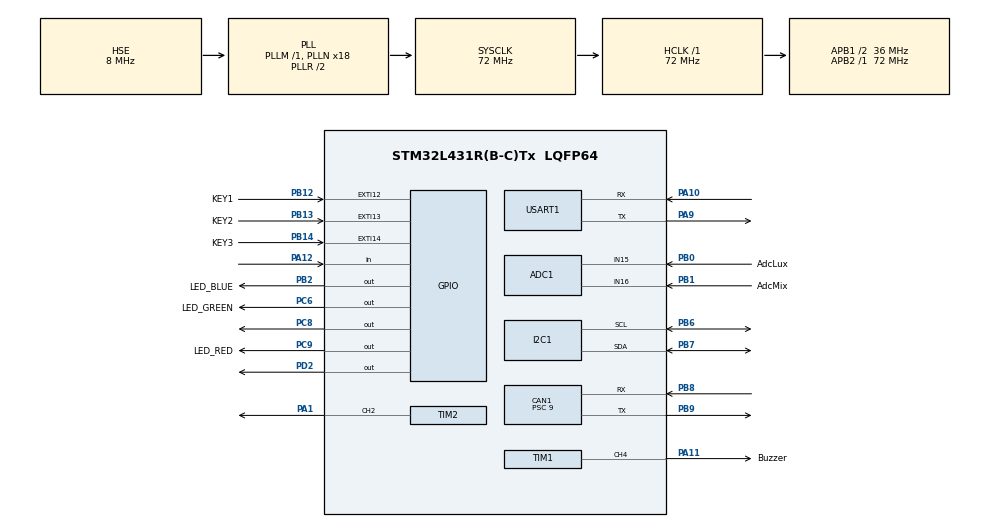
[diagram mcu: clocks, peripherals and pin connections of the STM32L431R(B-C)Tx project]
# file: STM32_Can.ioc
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ADC1.Channel-0\#ChannelRegularConversion=ADC_CHANNEL_15
ADC1.Channel-1\#ChannelRegularConversion=ADC_CHANNEL_16
ADC1.ContinuousConvMode=ENABLE
ADC1.NbrOfConversion=2
ADC1.NbrOfConversionFlag=1
ADC1.OffsetNumber-0\#ChannelRegularConversion=ADC_OFFSET_NONE
ADC1.OffsetNumber-1\#ChannelRegularConversion=ADC_OFFSET_NONE
ADC1.Rank-0\#ChannelRegularConversion=1
ADC1.Rank-1\#ChannelRegularConversion=2
ADC1.SamplingTime-0\#ChannelRegularConversion=ADC_SAMPLETIME_2CYCLES_5
ADC1.SamplingTime-1\#ChannelRegularConversion=ADC_SAMPLETIME_2CYCLES_5
ADC1.master=1
CAN1.BS1=CAN_BS1_5TQ
CAN1.BS2=CAN_BS2_2TQ
CAN1.CalculateBaudRate=500000
CAN1.CalculateTimeBit=2000
CAN1.CalculateTimeQuantum=250.0
CAN1.Mode=CAN_MODE_NORMAL
CAN1.Prescaler=9
FREERTOS.Tasks01=defaultTask,24,128,StartDefaultTask,Default,NULL,Dynamic,NULL,NULL
FREERTOS.configUSE_NEWLIB_REENTRANT=1
I2C1.I2C_Fall_Time=100
I2C1.I2C_Rise_Time=100
I2C1.Timing=0x00C08CCB
Mcu.Family=STM32L4
Mcu.Name=STM32L431R(B-C)Tx
Mcu.Package=LQFP64
NVIC.CAN1_RX0_IRQn=true\:5\:0\:true\:false\:true\:true\:true\:true\:true
NVIC.EXTI15_10_IRQn=true\:5\:0\:true\:false\:true\:true\:true\:true\:true
NVIC.PriorityGroup=NVIC_PRIORITYGROUP_4
NVIC.TIM7_IRQn=true\:15\:0\:false\:false\:true\:false\:false\:true\:true
NVIC.TimeBase=TIM7_IRQn
NVIC.TimeBaseIP=TIM7
PA1.Signal=S_TIM2_CH2
PA10.Mode=Asynchronous
PA10.Signal=USART1_RX
PA11.GPIO_Label=Buzzer
PA11.GPIO_PuPd=GPIO_PULLDOWN
PA11.Signal=S_TIM1_CH4
PA12.GPIO_PuPd=GPIO_PULLUP
PA12.Signal=GPIO_Input
PA9.Mode=Asynchronous
PA9.Signal=USART1_TX
PB0.GPIO_Label=AdcLux
PB0.Signal=ADCx_IN15
PB1.GPIO_Label=AdcMix
PB1.Signal=ADCx_IN16
PB12.GPIO_Label=KEY1
PB12.Signal=GPXTI12
PB13.GPIO_Label=KEY2
PB13.Signal=GPXTI13
PB14.GPIO_Label=KEY3
PB14.Signal=GPXTI14
PB2.GPIO_Label=LED_BLUE
PB2.PinState=GPIO_PIN_SET
PB2.Signal=GPIO_Output
PB6.Mode=I2C
PB6.Signal=I2C1_SCL
PB7.Mode=I2C
PB7.Signal=I2C1_SDA
PB8.Mode=CAN_Activate
PB8.Signal=CAN1_RX
PB9.Mode=CAN_Activate
PB9.Signal=CAN1_TX
PC6.GPIO_Label=LED_GREEN
PC6.PinState=GPIO_PIN_SET
PC6.Signal=GPIO_Output
PC8.Signal=GPIO_Output
PC9.GPIO_Label=LED_RED
PC9.GPIO_PuPd=GPIO_NOPULL
PC9.PinState=GPIO_PIN_SET
PC9.Signal=GPIO_Output
PD2.Signal=GPIO_Output
PH0-OSC_IN\ (PH0).Mode=HSE-External-Oscillator
PH0-OSC_IN\ (PH0).Signal=RCC_OSC_IN
PH1-OSC_OUT\ (PH1).Mode=HSE-External-Oscillator
PH1-OSC_OUT\ (PH1).Signal=RCC_OSC_OUT
ProjectManager.HeapSize=0x200
ProjectManager.StackSize=0x400
ProjectManager.TargetToolchain=STM32CubeIDE
RCC.ADCFreq_Value=32000000
RCC.AHBFreq_Value=72000000
RCC.APB1CLKDivider=RCC_HCLK_DIV2
RCC.APB1Freq_Value=36000000
RCC.APB1TimFreq_Value=72000000
RCC.APB2Freq_Value=72000000
RCC.APB2TimFreq_Value=72000000
RCC.CortexFreq_Value=72000000
RCC.HCLKFreq_Value=72000000
RCC.HSE_VALUE=8000000
RCC.HSI48_VALUE=48000000
RCC.HSI_VALUE=16000000
RCC.LSE_VALUE=32768
RCC.MSI_VALUE=4000000
RCC.PLLN=18
RCC.PLLSourceVirtual=RCC_PLLSOURCE_HSE
RCC.SYSCLKFreq_VALUE=72000000
RCC.SYSCLKSource=RCC_SYSCLKSOURCE_PLLCLK
RCC.VCOOutputFreq_Value=144000000
SH.ADCx_IN15.0=ADC1_IN15,IN15-Single-Ended
SH.ADCx_IN16.0=ADC1_IN16,IN16-Single-Ended
SH.S_TIM1_CH4.0=TIM1_CH4,PWM Generation4 CH4
SH.S_TIM2_CH2.0=TIM2_CH2,PWM Generation2 CH2
TIM1.Channel-PWM\ Generation4\ CH4=TIM_CHANNEL_4
TIM1.Period=370-1
TIM1.Prescaler=80-1
TIM2.AutoReloadPreload=TIM_AUTORELOAD_PRELOAD_ENABLE
TIM2.Channel-PWM\ Generation2\ CH2=TIM_CHANNEL_2
TIM2.Period=19999
TIM2.Prescaler=71
TIM2.Pulse-PWM\ Generation2\ CH2=1500
TIM6.Period=1
TIM6.Prescaler=80-1
USART1.VirtualMode-Asynchronous=VM_ASYNC
VP_FREERTOS_VS_CMSIS_V2.Mode=CMSIS_V2
VP_SYS_VS_tim7.Mode=TIM7
VP_TIM2_VS_ClockSourceINT.Mode=Internal
VP_TIM6_VS_ClockSourceINT.Mode=Enable_Timer
board=custom

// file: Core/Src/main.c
/* USER CODE BEGIN Header */
/**
  ******************************************************************************
  * @file           : main.c
  * @brief          : Main program body
  ******************************************************************************
  * @attention
  *
  * Copyright (c) 2025 STMicroelectronics.
  * All rights reserved.
  *
  * This software is licensed under terms that can be found in the LICENSE file
  * in the root directory of this software component.
  * If no LICENSE file comes with this software, it is provided AS-IS.
  *
  ******************************************************************************
  */
/* USER CODE END Header */
#include "main.h"
#include "cmsis_os.h"
#include "adc.h"
#include "can.h"
#include "i2c.h"
#include "tim.h"
#include "usart.h"
#include "gpio.h"

/* USER CODE BEGIN Includes */
#include "miscdev.h"
#include "sht20.h"
/* USER CODE END Includes */

void SystemClock_Config(void);
void MX_FREERTOS_Init(void);

int main(void)
{
  /* USER CODE BEGIN 1 */
	uint8_t TxData[8]; // 缓存待发送的信息
	uint8_t length = 8; // 待发送信息的长度
	uint8_t res1;
	uint8_t count=0;
	uint8_t i=0;

	int      rv;
	float    temperature, humidity;

	uint16_t temp_int;
	uint16_t humi_int;
  /* USER CODE END 1 */

  /* MCU Configuration--------------------------------------------------------*/

  /* Reset of all peripherals, Initializes the Flash interface and the Systick. */
  HAL_Init();

  /* Configure the system clock */
  SystemClock_Config();

  /* Initialize all configured peripherals */
  MX_GPIO_Init();
  MX_USART1_UART_Init();
  MX_ADC1_Init();
  MX_TIM6_Init();
  MX_TIM1_Init();
  MX_CAN1_Init();
  MX_I2C1_Init();
  MX_TIM2_Init();
  /* USER CODE BEGIN 2 */
  init_relay();
  init_led();
  beep_start(2,300);
  /* Turn on relay after 1 second */
  HAL_Delay(1000);
  turn_relay(Relay1, ON);
  //sysled_hearbeat();
  printf("Welcome to ISKBoard!\r\n");

  /* USER CODE END 2 */

  /* Init scheduler */
  osKernelInitialize();  /* Call init function for freertos objects (in freertos.c) */
  MX_FREERTOS_Init();

  /* Start scheduler */
  osKernelStart();

  /* We should never get here as control is now taken by the scheduler */
  /* Infinite loop */
  /* USER CODE BEGIN WHILE */
  while (1)
  {
	 /* // 处理CAN接收数据
	      while(g_can_rx_buf.head != g_can_rx_buf.tail)
	      {
	          CAN_RxItem_t *item = &g_can_rx_buf.buf[g_can_rx_buf.head];

	          if(item->StdId == 0x100)
	          {
	              if(item->Data[0] == 1)
	              {
	                  turn_led(Led_R, ON);
	                  printf("LED ON\r\n");
	              }
	              else if(item->Data[0] == 0)
	              {
	                  turn_led(Led_R, OFF);
	                  printf("LED OFF\r\n");
	              }
	          }

	          g_can_rx_buf.head = (g_can_rx_buf.head + 1) % CAN_RX_BUF_SIZE;
	      }
	     // 温湿度上报
	    rv = sht20_sample_TrH(&temperature, &humidity);
	    if( rv )
	    {
	        printf("ERROR: SHT20 sample data failure, rv=%d\r\n", rv);
	    }
	    else
	    {
	        printf("SHT20 sample temperature: %.2f relative humidity: %.1f%%\r\n", temperature, humidity);
	        // 通过CAN上报温湿度,放大100倍变成整数
	        temp_int = (uint16_t)(temperature * 100);
	        humi_int = (uint16_t)(humidity * 100);
	       // TxData[0] = 0x7B;
	        TxData[0] = temp_int >> 8;
	        TxData[1] = temp_int & 0xFF;
	        TxData[2] = humi_int >> 8;
	        TxData[3] = humi_int & 0xFF;
	        length = 4;
	        res1 = CAN_TX_Message(TxData, length);
	        if (res1 < 0)
	        {
	        	printf("CAN TX error.\r\n");
	        }
	    }
	    HAL_Delay(1000);*/

	  /*CAN上位测试
	  // 轮询方式发�?�CAN信息
	          printf("send data: ");
	          for(i=0;i<8;i++)
	          {
	              TxData[i]=count+1;
	              printf("%d\t", TxData[i]);
	          }
	          printf("\r\n");
	          res1 = CAN_TX_Message(TxData, length);
	          if (res1 < 0)
	          {
	              printf("CAN TX error.\r\n");
	              return -1;
	          }
	          count++;
	          HAL_Delay(1000);
	          */

/*
	  if( OFF == light_status )
	  {
	  adc_sample_lux_noisy(&lux, &noisy);
	  printf("Lux[%lu] Noisy[%lu]\r\n",lux,noisy);

	  if( lux<30 && noisy>800 )
	  {
	  printf("Turn Light on\r\n");
	  //turn_relay(Relay2,ON);
	  turn_led(Led_R,ON);
	  light_status =ON;
	  start =HAL_GetTick();}
	  }
	  else
	  {
		  if( time_after(HAL_GetTick(),start+15000)){
			  printf("Turn Light off\r\n");
			  //turn_relay(Relay2,OFF);
			  turn_led(Led_R,OFF);
			  HAL_Delay(200);
			  light_status = OFF;
	  }
	}
	  HAL_Delay(10);
*/

	  /*HAL_Delay(200);*/
	  /*toggle_led(Led_B);
	      for(int i=0; i<1000; i++)
	          udelay(3000);*/

	     /*adc_sample_lux_noisy(&lux, &noisy);
	      printf("Lux:%lu Noisy:%lu\r\n", lux, noisy);
	      HAL_Delay(2000);*/

	  /*
	  turn_led(Led_R, ON);
	  HAL_Delay(200);
	  turn_led(Led_R, OFF);
	  HAL_Delay(200);

	  toggle_led(Led_G);
	  HAL_Delay(200);
	  toggle_led(Led_G);
	  HAL_Delay(200);

	  blink_led(Led_B, 200);*/

    /* USER CODE END WHILE */

  }
}

void SystemClock_Config(void)
{
  RCC_OscInitTypeDef RCC_OscInitStruct = {0};
  RCC_ClkInitTypeDef RCC_ClkInitStruct = {0};

  /** Configure the main internal regulator output voltage
  */
  if (HAL_PWREx_ControlVoltageScaling(PWR_REGULATOR_VOLTAGE_SCALE1) != HAL_OK)
  {
    Error_Handler();
  }

  /** Initializes the RCC Oscillators according to the specified parameters
  * in the RCC_OscInitTypeDef structure.
  */
  RCC_OscInitStruct.OscillatorType = RCC_OSCILLATORTYPE_HSE;
  RCC_OscInitStruct.HSEState = RCC_HSE_ON;
  RCC_OscInitStruct.PLL.PLLState = RCC_PLL_ON;
  RCC_OscInitStruct.PLL.PLLSource = RCC_PLLSOURCE_HSE;
  RCC_OscInitStruct.PLL.PLLM = 1;
  RCC_OscInitStruct.PLL.PLLN = 18;
  RCC_OscInitStruct.PLL.PLLP = RCC_PLLP_DIV7;
  RCC_OscInitStruct.PLL.PLLQ = RCC_PLLQ_DIV2;
  RCC_OscInitStruct.PLL.PLLR = RCC_PLLR_DIV2;
  if (HAL_RCC_OscConfig(&RCC_OscInitStruct) != HAL_OK)
  {
    Error_Handler();
  }

  /** Initializes the CPU, AHB and APB buses clocks
  */
  RCC_ClkInitStruct.ClockType = RCC_CLOCKTYPE_HCLK|RCC_CLOCKTYPE_SYSCLK
                              |RCC_CLOCKTYPE_PCLK1|RCC_CLOCKTYPE_PCLK2;
  RCC_ClkInitStruct.SYSCLKSource = RCC_SYSCLKSOURCE_PLLCLK;
  RCC_ClkInitStruct.AHBCLKDivider = RCC_SYSCLK_DIV1;
  RCC_ClkInitStruct.APB1CLKDivider = RCC_HCLK_DIV2;
  RCC_ClkInitStruct.APB2CLKDivider = RCC_HCLK_DIV1;

  if (HAL_RCC_ClockConfig(&RCC_ClkInitStruct, FLASH_LATENCY_4) != HAL_OK)
  {
    Error_Handler();
  }
}

void HAL_TIM_PeriodElapsedCallback(TIM_HandleTypeDef *htim)
{
  if (htim->Instance == TIM7) {
    HAL_IncTick();
  }
}

void Error_Handler(void)
{
  __disable_irq();
  while (1)
  {
  }
}

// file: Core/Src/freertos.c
/* USER CODE BEGIN Header */
/**
  ******************************************************************************
  * File Name          : freertos.c
  * Description        : Code for freertos applications
  ******************************************************************************
  * @attention
  *
  * Copyright (c) 2026 STMicroelectronics.
  * All rights reserved.
  *
  * This software is licensed under terms that can be found in the LICENSE file
  * in the root directory of this software component.
  * If no LICENSE file comes with this software, it is provided AS-IS.
  *
  ******************************************************************************
  */
/* USER CODE END Header */

#include "FreeRTOS.h"
#include "task.h"
#include "main.h"
#include "cmsis_os.h"

/* USER CODE BEGIN Includes */
#include "can.h"
#include "miscdev.h"
#include "sht20.h"
#include "tim.h"
/* USER CODE END Includes */

/* USER CODE BEGIN PTD */
osThreadId_t appTaskHandle;
const osThreadAttr_t appTask_attributes = {
  .name = "appTask",
  .stack_size = 512 * 4,   /* SHT20采样+CAN+printf需要的栈比defaultTask大，给足一点 */
  .priority = (osPriority_t) osPriorityNormal,
};
/* USER CODE END PTD */

/* Definitions for defaultTask */
osThreadId_t defaultTaskHandle;
const osThreadAttr_t defaultTask_attributes = {
  .name = "defaultTask",
  .stack_size = 128 * 4,
  .priority = (osPriority_t) osPriorityNormal,
};

/* USER CODE BEGIN FunctionPrototypes */

void StartAppTask(void *argument);////////////////////////////////

/* USER CODE END FunctionPrototypes */

void StartDefaultTask(void *argument);

void MX_FREERTOS_Init(void); /* (MISRA C 2004 rule 8.1) */

void MX_FREERTOS_Init(void) {

  /* Create the thread(s) */
  /* creation of defaultTask */
  defaultTaskHandle = osThreadNew(StartDefaultTask, NULL, &defaultTask_attributes);

  /* USER CODE BEGIN RTOS_THREADS */
  /* add threads, ... */
  appTaskHandle = osThreadNew(StartAppTask, NULL, &appTask_attributes);
  /* USER CODE END RTOS_THREADS */

}

/* USER CODE BEGIN Header_StartDefaultTask */
void Servo_SetAngle(uint8_t angle);
/**
  * @brief  Function implementing the defaultTask thread.
  * @param  argument: Not used
  * @retval None
  */
/* USER CODE END Header_StartDefaultTask */
void StartDefaultTask(void *argument)
{
  for(;;)
  {
    osDelay(1);
  }
}

/* USER CODE BEGIN Application */
void StartAppTask(void *argument)
{
    uint8_t TxData[8];
    uint8_t length = 8;
    uint8_t res1;

    int      rv;
    float    temperature, humidity;
    uint16_t temp_int;
    uint16_t humi_int;

    HAL_TIM_PWM_Start(&htim2,TIM_CHANNEL_2);//启动舵机PWM

    for (;;)
    {
        /* 处理CAN接收数据 */
        while (g_can_rx_buf.head != g_can_rx_buf.tail)
        {
            CAN_RxItem_t *item = &g_can_rx_buf.buf[g_can_rx_buf.head];

			if (item->StdId == 0x100)
			{
				uint8_t led_index = item->Data[0];
				uint8_t state = item->Data[1];

				if (led_index <= 2)
				{
					lednum_t led = (led_index == 0) ? Led_R :
										(led_index == 1) ? Led_G : Led_B;
					turn_led(led, state ? ON : OFF);
					printf("LED %d %s\r\n", led_index, state ? "ON" : "OFF");
				}
				else
				{
					printf("Unknown led_index=%d\r\n", led_index);
				}
			}
            /*舵机控制帧*/
            else if (item->StdId == 0x101)
            {
            	Servo_SetAngle(item->Data[0]);
            	printf("Servo angle set to %d \r\n",item->Data[0]);

            }

            g_can_rx_buf.head = (g_can_rx_buf.head + 1) % CAN_RX_BUF_SIZE;
        }

        /* 温湿度上报 */
        rv = sht20_sample_TrH(&temperature, &humidity);
        if (rv)
        {
            printf("ERROR: SHT20 sample data failure, rv=%d\r\n", rv);
        }
        else
        {
            printf("SHT20 sample temperature: %.2f relative humidity: %.1f%%\r\n", temperature, humidity);

            temp_int = (uint16_t)(temperature * 100);
            humi_int = (uint16_t)(humidity * 100);

            TxData[0] = temp_int >> 8;
            TxData[1] = temp_int & 0xFF;
            TxData[2] = humi_int >> 8;
            TxData[3] = humi_int & 0xFF;
            length = 4;

            res1 = CAN_TX_Message(TxData, length);
            if (res1 < 0)
            {
                printf("CAN TX error.\r\n");
            }
        }

        osDelay(1000);   /* 原来是 HAL_Delay(1000)，FreeRTOS环境下换成 osDelay 让出CPU给其他任务 */
    }
}
//舵机
void Servo_SetAngle(uint8_t angle)
{
    if (angle > 180) angle = 180;
    uint16_t pulse = 500 + (uint16_t)((uint32_t)angle * 2000 / 180);
    __HAL_TIM_SET_COMPARE(&htim2, TIM_CHANNEL_2, pulse);
}
/* USER CODE END Application */
